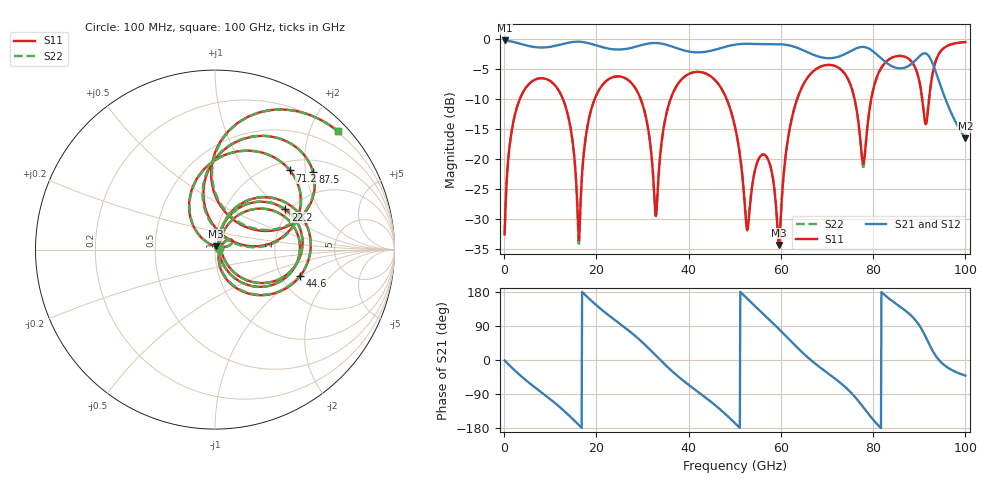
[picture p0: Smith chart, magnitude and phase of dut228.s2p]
! Touchstone file exported from HFSS 2026.1.0
!  File:  C:/ffzhzh/LocalFiles/Ansys_Project_Files/temp_train_TSV_RDL_228_1783664317_29156.aedt
!  Generated:  02:28:06 PM Jul 10, 2026
!  Design:  TSV_RDL
!  Project:  temp_train_TSV_RDL_228_1783664317_29156
! Variables:
!  h_bsmrdl = 2.29um
!  h_ox = 20um
!  h_rdl = 5um
!  h_sub = 97.5um
!  h_tmrdl = 4.96um
!  h_tsv = 97.5um
!  h_via = 3um
!  l_bsmrdl = 598.82um
!  l_sub = 3199.59um
!  l_tmrdl = 226.85um
!  m_sub = 200um
!  pitch = 45.33um
!  r_tsv = 11.3um
!  s_tmrdl = 10um
!  w_bsmrdl = 20.63um
!  w_sub = 500um
!  w_tmrdl = 11.28um
!  x_tsv_center1 = 232.49um
!  x_tsv_center2 = 851.94um
!  x_tsv_center3 = 1090.07um
!  x_tsv_center4 = 1709.52um
!  x_tsv_center5 = 1947.65um
!  x_tsv_center6 = 2567.1um
# GHz S MA R 50.000000
! Terminal data exported
! Port[1] = TM_RDL1_1_T1
! Port[2] = TM_RDL5_1_T1
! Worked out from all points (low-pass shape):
!   1000 points, 100 MHz to 100 GHz, reference 50 ohm
!   highest |S21| = -0.18 dB at 100 MHz (marker M1); lowest = -16.6 dB at 100 GHz (marker M2)
!   |S21| within 3 dB of the highest: start of sweep to 81.74 GHz; 89.58 GHz to 92.38 GHz (2.802 GHz wide, 3.08 % of centre)
!   lowest |S11| = -34.4 dB at 59.6 GHz (marker M3), VSWR 1.04, Z = 50.3 + j1.89 ohm
!   |S11| at or under -10 dB: 12.75 GHz to 19.62 GHz (6.87 GHz wide, 42.5 % of centre); 29.61 GHz to 36.08 GHz (6.467 GHz wide, 19.7 % of centre); 48.24 GHz to 63.52 GHz (15.28 GHz wide, 27.3 % of centre) (the widest 3 of 6)
!   |S22| runs from -34.6 to -0.4 dB; largest |S21 - S12| = 1.7e-14
!   S11 on the Smith chart (normalised r, x): 100 MHz: 1.04, +0.02; 22.2 GHz: 1.89, +1.06; 44.6 GHz: 2.53, -0.99; 71.2 GHz: 1.18, +1.65; 87.5 GHz: 1.32, +2.21; 100 GHz: 0.18, +2.47
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0.1  0.02333 28.8  0.9797 -1.3  0.9797 -1.3  0.02333 28.8
! Gamma 0 0 0 0
! Port Impedance 50 0 50 0
2.2  0.2226 56.9  0.9487 -26.3  0.9487 -26.3  0.2227 56.9
6.9  0.464 12.9  0.8597 -74.5  0.8597 -74.5  0.4641 12.9
12.6  0.3264 -39.4  0.9131 -130.0  0.9131 -130.0  0.3264 -39.7
16.8  0.06541 70.7  0.953 -179.0  0.953 -179.0  0.06469 72.5
22.2  0.4508 29.8  0.8434 122.4  0.8434 122.4  0.4507 30.0
29  0.358 -30.5  0.8786 57.4  0.8786 57.4  0.358 -30.4
33.4  0.06441 63.4  0.931 5.7  0.931 5.7  0.06395 64.2
36.8  0.3699 51.1  0.8606 -33.8  0.8606 -33.8  0.3699 51.4
44.6  0.4964 -17.2  0.7998 -107.9  0.7998 -107.9  0.4965 -16.8
50.1  0.1819 -68.3  0.9043 -167.3  0.9043 -167.3  0.1824 -67.2
52.6  0.026 -27.7  0.9189 163.1  0.9189 163.1  0.02882 -26.3
56.3  0.1087 27.3  0.9121 120.2  0.9121 120.2  0.109 26.7
59.6  0.01905 80.9  0.9114 81.4  0.9114 81.4  0.01959 80.1
62.2  0.204 129.8  0.8836 49.2  0.8836 49.2  0.204 129.3
66.7  0.5268 84.7  0.7529 -2.2  0.7529 -2.2  0.5268 84.4
71.2  0.6072 46.5  0.6989 -44.2  0.6989 -44.2  0.6071 46.2
77.9  0.09131 57.7  0.8646 -125.2  0.8646 -125.2  0.08562 57.7
83.4  0.6794 68.7  0.6173 162.6  0.6173 162.6  0.6789 69.0
87.5  0.6966 38.2  0.5944 125.3  0.5944 125.3  0.6966 38.6
92.6  0.4439 92.7  0.6672 31.0  0.6672 31.0  0.4467 92.0
100  0.9509 44.0  0.1482 -41.2  0.1482 -41.2  0.951 43.9
